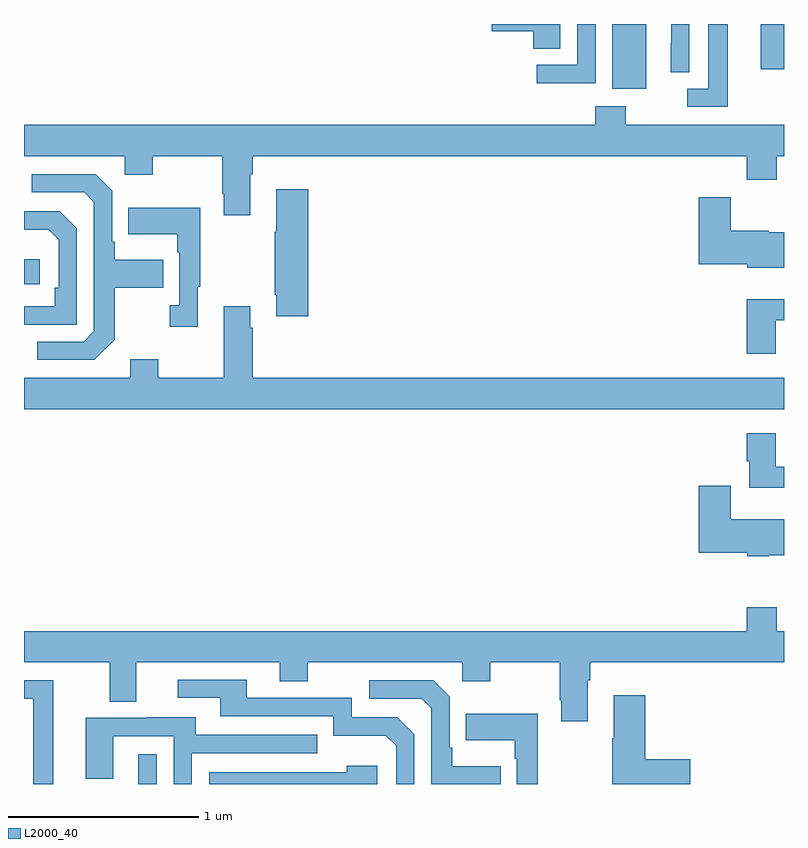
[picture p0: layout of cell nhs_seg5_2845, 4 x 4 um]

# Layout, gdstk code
import gdstk
lib = gdstk.Library(unit=1e-6, precision=1e-09)
def R(c, l, rs):  # rectangles x0, y0, x1, y1
    for r in rs: c.add(gdstk.rectangle(r[:2], r[2:], *l))
def P(c, l, *ps):  # polygons
    for p in ps: c.add(gdstk.Polygon(p, *l))
L2000_40 = (2000, 40)

nhs_seg5_2845 = lib.new_cell('nhs_seg5_2845')
R(nhs_seg5_2845, L2000_40, [(277.601,842.799,277.698,842.956), (277,845.43,277.084,845.56), (280.097,846.458,280.276,846.799), (280.877,846.561,281,846.799)])
P(nhs_seg5_2845, L2000_40, [(280.705,846.799),(280.601,846.799),(280.601,846.459),(280.491,846.459),(280.491,846.363),(280.705,846.363)],
  [(279.823,846.799),(279.462,846.799),(279.462,846.761),(279.68,846.761),(279.68,846.67),(279.823,846.67)],
  [(280.5,846.799),(280.406,846.799),(280.406,846.698),(280.404,846.698),(280.404,846.544),(280.5,846.544)],
  [(280.008,846.799),(279.912,846.799),(279.912,846.585),(279.699,846.585),(279.699,846.487),(280.008,846.487)],
  [(278.191,846.008),(278.204,846.008),(278.204,846.104),(280.805,846.104),(280.805,845.98),(280.961,845.98),(280.961,846.104),(281,846.104),(281,846.268),(280.167,846.268),(280.167,846.367),(280.007,846.367),(280.007,846.268),(277,846.268),(277,846.104),(277.53,846.104),(277.53,846.005),(277.677,846.005),(277.677,846.104),(278.044,846.104),(278.044,845.905),(278.051,845.905),(278.051,845.793),(278.191,845.793)],
  [(277.477,845.137),(277.477,845.41),(277.733,845.41),(277.733,845.557),(277.477,845.557),(277.477,845.653),(277.464,845.653),(277.464,845.922),(277.377,846.009),(277.041,846.009),(277.041,845.913),(277.317,845.913),(277.368,845.862),(277.368,845.181),(277.314,845.127),(277.071,845.127),(277.071,845.031),(277.371,845.031)],
  [(278.495,845.929),(278.327,845.929),(278.327,845.705),(278.32,845.705),(278.32,845.374),(278.327,845.374),(278.327,845.262),(278.495,845.262)],
  [(281,845.704),(280.92,845.704),(280.92,845.71),(280.72,845.71),(280.72,845.887),(280.55,845.887),(280.55,845.534),(280.806,845.534),(280.806,845.516),(281,845.516)],
  [(277.915,845.417),(277.927,845.417),(277.927,845.833),(277.549,845.833),(277.549,845.693),(277.806,845.693),(277.806,845.597),(277.818,845.597),(277.818,845.318),(277.767,845.318),(277.767,845.205),(277.915,845.205)],
  [(277.278,845.724),(277.188,845.814),(277,845.814),(277,845.717),(277.129,845.717),(277.182,845.664),(277.182,845.41),(277.162,845.41),(277.162,845.313),(277,845.313),(277,845.217),(277.278,845.217)],
  [(280.957,845.241),(281,845.241),(281,845.35),(280.805,845.35),(280.805,845.064),(280.957,845.064)],
  [(281,844.936),(278.204,844.936),(278.204,845.201),(278.191,845.201),(278.191,845.314),(278.051,845.314),(278.051,844.936),(277.707,844.936),(277.707,845.035),(277.559,845.035),(277.559,844.936),(277,844.936),(277,844.772),(281,844.772)],
  [(281,844.468),(280.957,844.468),(280.957,844.645),(280.805,844.645),(280.805,844.497),(280.817,844.497),(280.817,844.358),(281,844.358)],
  [(280.92,844.004),(281,844.004),(281,844.192),(280.72,844.192),(280.72,844.369),(280.55,844.369),(280.55,844.016),(280.806,844.016),(280.806,843.998),(280.92,843.998)],
  [(279.967,843.344),(279.98,843.344),(279.98,843.44),(281,843.44),(281,843.604),(280.961,843.604),(280.961,843.728),(280.805,843.728),(280.805,843.604),(277,843.604),(277,843.44),(277.451,843.44),(277.451,843.232),(277.591,843.232),(277.591,843.44),(278.345,843.44),(278.345,843.341),(278.493,843.341),(278.493,843.44),(279.306,843.44),(279.306,843.341),(279.453,843.341),(279.453,843.44),(279.82,843.44),(279.82,843.241),(279.827,843.241),(279.827,843.129),(279.967,843.129)],
  [(279.054,843.06),(278.964,843.15),(278.724,843.15),(278.724,843.252),(278.173,843.252),(278.173,843.348),(277.809,843.348),(277.809,843.252),(278.033,843.252),(278.033,843.156),(278.628,843.156),(278.628,843.053),(278.905,843.053),(278.958,843),(278.958,842.799),(279.054,842.799)],
  [(279.509,842.893),(279.253,842.893),(279.253,842.989),(279.24,842.989),(279.24,843.258),(279.153,843.345),(278.817,843.345),(278.817,843.249),(279.093,843.249),(279.144,843.198),(279.144,842.799),(279.509,842.799)],
  [(277.153,843.345),(277,843.345),(277,843.249),(277.049,843.249),(277.049,842.799),(277.153,842.799)],
  [(280.507,842.93),(280.271,842.93),(280.271,843.265),(280.103,843.265),(280.103,843.041),(280.096,843.041),(280.096,842.799),(280.507,842.799)],
  [(279.703,843.169),(279.325,843.169),(279.325,843.029),(279.582,843.029),(279.582,842.933),(279.594,842.933),(279.594,842.799),(279.703,842.799)],
  [(277.884,842.961),(278.543,842.961),(278.543,843.057),(277.903,843.057),(277.903,843.151),(277.649,843.151),(277.649,843.147),(277.325,843.147),(277.325,842.827),(277.47,842.827),(277.47,843.051),(277.788,843.051),(277.788,842.799),(277.884,842.799)],
  [(278.86,842.896),(278.699,842.896),(278.699,842.862),(277.974,842.862),(277.974,842.799),(278.86,842.799)])

lib.write_gds('nhs_seg5_2845.gds')
